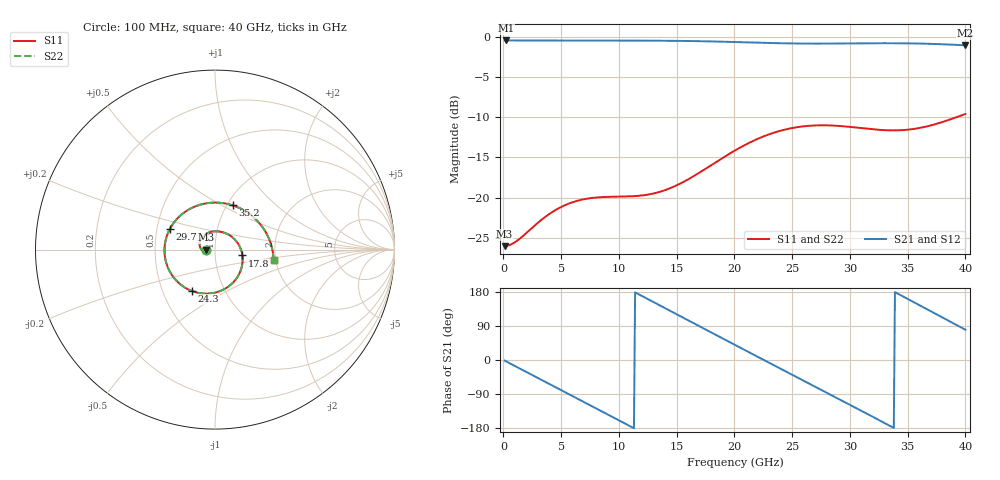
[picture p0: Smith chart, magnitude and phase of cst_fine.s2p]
! P_ts6_pad: 0402 capacitor pad (0.56 × 0.62 mm) on a 50 Ω microstrip, plane intact
! stackup: ThunderScope Rev5.3 6-layer (FR408HR / FR-4, from the board file)
! ports: 1, 2
! CST Studio Suite 2025.5 Release from 2025-05-30, time domain (FIT, hexahedral, PBA), 212223 mesh cells, 39 s
! mesh: {'lpw': 30.0, 'lpb': 30.0, 'minstep': 0.0, 'ratio': 20}; ports: port 1 (face); port 2 (face)
! interpolated from CST's 1001 samples to the case grid
# Hz S RI R 50
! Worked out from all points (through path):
!   400 points, 100 MHz to 40 GHz, reference 50 ohm
!   highest |S21| = -0.44 dB at 200 MHz (marker M1); lowest = -1.0 dB at 40 GHz (marker M2)
!   group delay of S21, straight-line fit = 44.4 ps
!   lowest |S11| = -26.0 dB at 100 MHz (marker M3), VSWR 1.10, Z = 45.3 - j0.0501 ohm
!   |S11| at or under -10 dB: start of sweep to 39.22 GHz
!   |S22| runs from -26.0 to -9.6 dB; largest |S21 - S12| = 5.1e-07
!   S11 on the Smith chart (normalised r, x): 100 MHz: 0.91, -0.00; 17.8 GHz: 1.36, -0.09; 24.3 GHz: 0.70, -0.35; 29.7 GHz: 0.58, +0.14; 35.2 GHz: 1.06, +0.56; 40 GHz: 1.95, -0.25
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1e8  -0.0498 -0.000553  0.9498 -0.0264  0.9498 -0.0264  -0.0498 -0.000553
2e8  -0.0499 -0.0011  0.9487 -0.0528  0.9487 -0.0528  -0.0499 -0.0011
1.9e9  -0.059 -0.00701  0.8206 -0.4785  0.8206 -0.4785  -0.059 -0.00701
3.8e9  -0.0774 0.00304  0.4678 -0.8262  0.4678 -0.8262  -0.0774 0.00304
5.3e9  -0.086 0.0249  0.0935 -0.9444  0.0935 -0.9444  -0.086 0.0249
6.8e9  -0.0816 0.0526  -0.2966 -0.9012  -0.2966 -0.9012  -0.0816 0.0526
8.7e9  -0.0564 0.0836  -0.7102 -0.6287  -0.7102 -0.6287  -0.0564 0.0836
1.03e10  -0.0234 0.0987  -0.9115 -0.2612  -0.9115 -0.2612  -0.0234 0.0987
1.18e10  0.0127 0.1019  -0.9385 0.1316  -0.9385 0.1316  0.0127 0.1019
1.34e10  0.0546 0.093  -0.7885 0.5238  -0.7885 0.5238  0.0546 0.093
1.57e10  0.1163 0.0496  -0.3151 0.8893  -0.3151 0.8893  0.1163 0.0496
1.78e10  0.1525 -0.0326  0.2301 0.9093  0.2301 0.9093  0.1525 -0.0326
2.01e10  0.125 -0.1528  0.7223 0.5842  0.7223 0.5842  0.125 -0.1528
2.22e10  0.0194 -0.2343  0.9154 0.0887  0.9154 0.0887  0.0194 -0.2343
2.43e10  -0.1282 -0.2309  0.8076 -0.4239  0.8076 -0.4239  -0.1282 -0.2309
2.67e10  -0.2582 -0.1096  0.3755 -0.827  0.3755 -0.827  -0.2582 -0.1096
2.97e10  -0.2526 0.1129  -0.3591 -0.8364  -0.3591 -0.8364  -0.2526 0.1129
3.17e10  -0.1509 0.2205  -0.7508 -0.519  -0.7508 -0.519  -0.1509 0.2205
3.34e10  -0.0336 0.2599  -0.9063 -0.1137  -0.9063 -0.1137  -0.0336 0.2599
3.52e10  0.0976 0.2469  -0.8441 0.3431  -0.8441 0.3431  0.0976 0.2469
3.77e10  0.2574 0.1349  -0.4114 0.8023  -0.4114 0.8023  0.2574 0.1349
4e10  0.3263 -0.0576  0.1558 0.8724  0.1558 0.8724  0.3263 -0.0576
